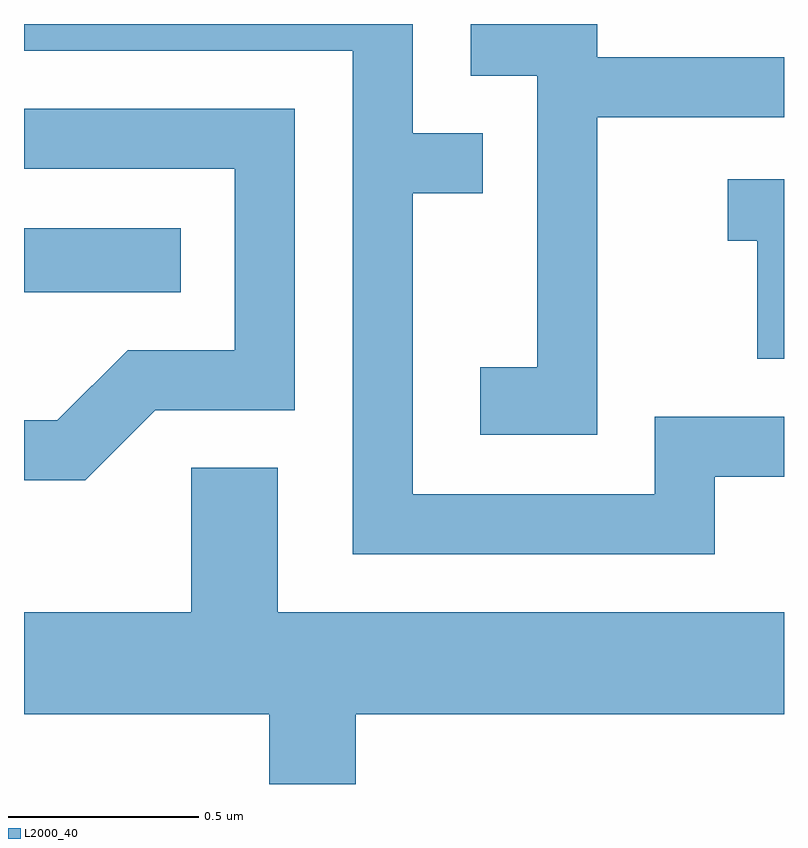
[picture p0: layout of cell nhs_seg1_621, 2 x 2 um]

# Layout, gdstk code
import gdstk
lib = gdstk.Library(unit=1e-6, precision=1e-09)
def R(c, l, rs):  # rectangles x0, y0, x1, y1
    for r in rs: c.add(gdstk.rectangle(r[:2], r[2:], *l))
def P(c, l, *ps):  # polygons
    for p in ps: c.add(gdstk.Polygon(p, *l))
L2000_40 = (2000, 40)

nhs_seg1_621 = lib.new_cell('nhs_seg1_621')
R(nhs_seg1_621, L2000_40, [(189.611,914.006,190.023,914.174)])
P(nhs_seg1_621, L2000_40, [(191.429,913.521),(191.611,913.521),(191.611,913.679),(191.271,913.679),(191.271,913.474),(190.634,913.474),(190.634,914.266),(190.818,914.266),(190.818,914.424),(190.634,914.424),(190.634,914.712),(189.611,914.712),(189.611,914.641),(190.476,914.641),(190.476,913.316),(191.429,913.316)],
  [(191.119,914.466),(191.611,914.466),(191.611,914.624),(191.119,914.624),(191.119,914.712),(190.786,914.712),(190.786,914.576),(190.961,914.576),(190.961,913.809),(190.811,913.809),(190.811,913.631),(191.119,913.631)],
  [(189.957,913.696),(190.324,913.696),(190.324,914.489),(189.611,914.489),(189.611,914.331),(190.166,914.331),(190.166,913.854),(189.884,913.854),(189.699,913.669),(189.611,913.669),(189.611,913.511),(189.772,913.511)],
  [(191.611,914.304),(191.463,914.304),(191.463,914.141),(191.541,914.141),(191.541,913.831),(191.611,913.831)],
  [(190.484,912.896),(191.611,912.896),(191.611,913.164),(190.279,913.164),(190.279,913.544),(190.051,913.544),(190.051,913.164),(189.611,913.164),(189.611,912.896),(190.256,912.896),(190.256,912.712),(190.484,912.712)])

lib.write_gds('nhs_seg1_621.gds')
